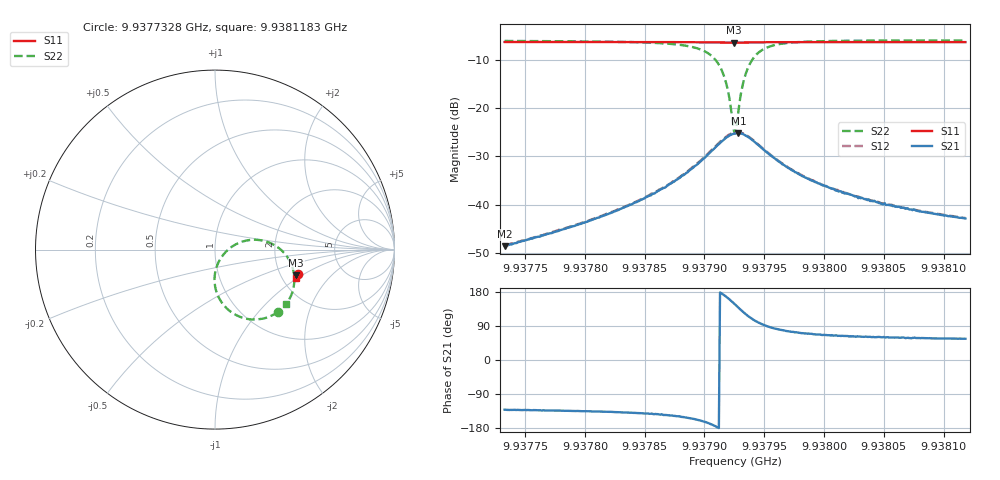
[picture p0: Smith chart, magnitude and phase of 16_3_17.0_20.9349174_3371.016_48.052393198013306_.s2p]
#  HZ  S  RI  R  50.00
! Rohde & Schwarz Vector Network Analyzer
! Rohde-Schwarz,ZNB20-2Port,1311601062101988,3.16
! Created: UTC 3/20/2024, 10:52:48 PM
! freq[Hz]  re:S11  im:S11  re:S21  im:S21  re:S12  im:S12  re:S22  im:S22
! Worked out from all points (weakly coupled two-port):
!   401 points, 9.9377328 GHz to 9.9381183 GHz, reference 50 ohm
!   highest |S21| = -25.20 dB at 9.9379284 GHz (marker M1); lowest = -48.6 dB at 9.9377328 GHz (marker M2)
!   lowest |S11| = -6.5 dB at 9.9379246 GHz (marker M3), VSWR 2.80, Z = 121 - j44.8 ohm
!   |S11| at or under -10 dB: nowhere
!   |S22| runs from -25.3 to -6.0 dB; largest |S21 - S12| = 0.0022
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9.9377328e9  0.4625 -0.1339  -0.00244 -0.0028  -0.00253 -0.00281  0.3517 -0.3462
9.93779737e9  0.4605 -0.1386  -0.00451 -0.0045  -0.00463 -0.00454  0.33 -0.3606
9.93783111e9  0.4596 -0.141  -0.00684 -0.00611  -0.007 -0.0061  0.3081 -0.3712
9.93786195e9  0.4586 -0.1434  -0.0112 -0.00833  -0.0117 -0.0082  0.2684 -0.3844
9.93789279e9  0.4562 -0.146  -0.0234 -0.00996  -0.0241 -0.00988  0.1672 -0.3835
9.93790821e9  0.454 -0.1466  -0.0378 -0.00437  -0.0389 -0.00381  0.0578 -0.3197
9.93791399e9  0.4529 -0.1461  -0.0445 0.0027  -0.0455 0.00368  0.0142 -0.2523
9.93791784e9  0.4522 -0.1456  -0.0477 0.0103  -0.0486 0.0116  -0.00175 -0.1863
9.93791977e9  0.452 -0.1452  -0.0484 0.0147  -0.0496 0.0164  -0.00175 -0.1483
9.93792459e9  0.4517 -0.1439  -0.0466 0.0275  -0.0473 0.0293  0.0312 -0.0493
9.93792556e9  0.4519 -0.1437  -0.0456 0.0298  -0.046 0.032  0.0444 -0.0308
9.93792652e9  0.4519 -0.1435  -0.0442 0.0323  -0.0444 0.0344  0.059 -0.0137
9.93792845e9  0.4522 -0.1431  -0.0409 0.0366  -0.0407 0.0387  0.0934 0.0157
9.93793134e9  0.4527 -0.1425  -0.0345 0.0415  -0.034 0.0435  0.1519 0.0445
9.93793423e9  0.4534 -0.1422  -0.0274 0.0443  -0.0266 0.046  0.2124 0.0549
9.93793808e9  0.4545 -0.1422  -0.0183 0.045  -0.0175 0.0461  0.2842 0.0454
9.93794387e9  0.4555 -0.1426  -0.00823 0.0417  -0.00707 0.0426  0.3613 0.00405
9.93795929e9  0.4568 -0.1448  0.00375 0.0294  0.00452 0.0296  0.435 -0.1115
9.93799013e9  0.4567 -0.1483  0.0064 0.0165  0.00689 0.0165  0.4361 -0.2187
9.93801711e9  0.456 -0.1506  0.00583 0.0116  0.00611 0.0117  0.424 -0.2563
9.9380547e9  0.4551 -0.1535  0.00506 0.00846  0.00522 0.00851  0.4106 -0.2822
9.93811831e9  0.4533 -0.1578  0.00401 0.00596  0.00417 0.00596  0.3961 -0.3038
